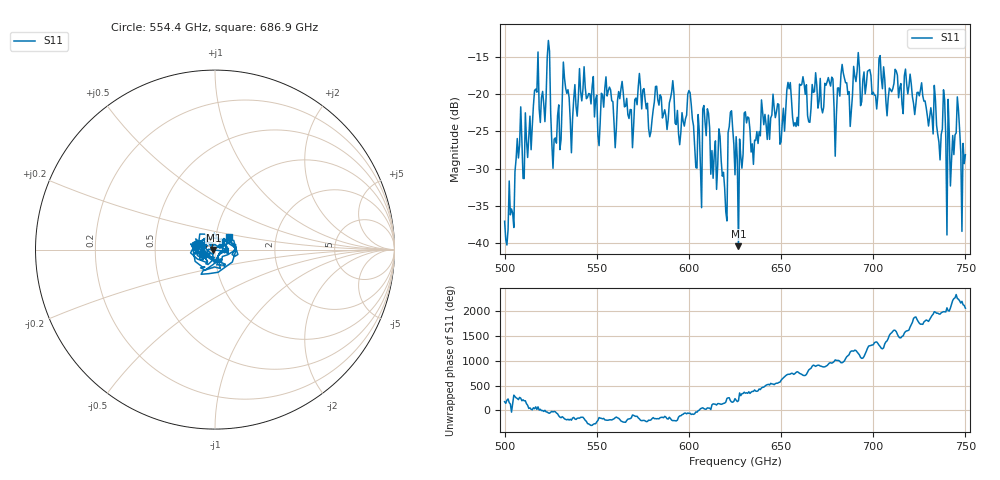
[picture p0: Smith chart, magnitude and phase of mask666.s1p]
!Created with skrf (http://scikit-rf.org).
# GHz S MA R 50.0
!freq magS11 angS11
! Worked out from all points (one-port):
!   401 points, 500 GHz to 750 GHz, reference 50 ohm
!   lowest |S11| = -40.4 dB at 626.9 GHz (marker M1), VSWR 1.02, Z = 49.1 - j0.196 ohm
!   |S11| at or under -10 dB: start of sweep to end of sweep
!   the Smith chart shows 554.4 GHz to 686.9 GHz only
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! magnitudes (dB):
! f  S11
! 500 GHz  -37.1
! 516.9 GHz  -19.4
! 520.6 GHz  -19.7
! 523.8 GHz  -12.8
! 526.9 GHz  -26.1
! 531.2 GHz  -21.0
! 562.5 GHz  -20.6
! 579.4 GHz  -25.1
! 590.6 GHz  -19.8
! 593.8 GHz  -22.2
! 600.6 GHz  -19.8
! 605.6 GHz  -25.0
! 609.4 GHz  -25.6
! 619.4 GHz  -32.5
! 622.5 GHz  -22.5
! 625 GHz  -30.8
! 626.9 GHz  -40.4
! 631.2 GHz  -23.9
! 635 GHz  -29.4
! 656.2 GHz  -23.2
! 676.9 GHz  -19.0
! 680 GHz  -23.0
! 683.8 GHz  -17.2
! 687.5 GHz  -24.4
! 690.6 GHz  -18.4
! 718.8 GHz  -20.0
! 741.2 GHz  -25.2
! 750 GHz  -28.1
